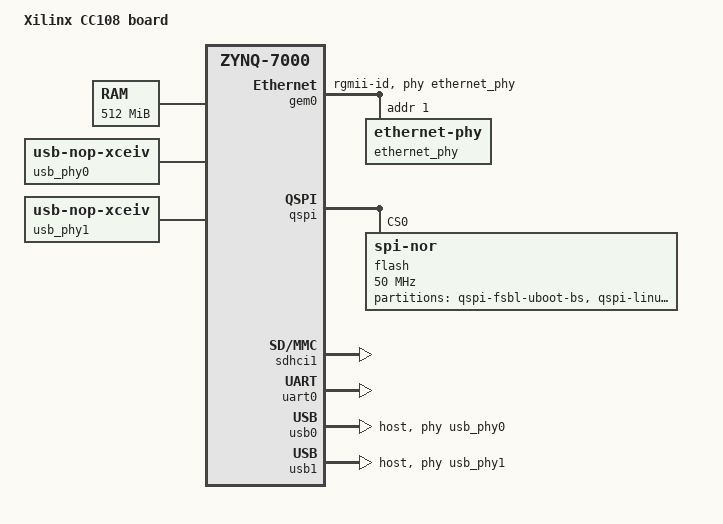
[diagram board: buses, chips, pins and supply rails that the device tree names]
// SPDX-License-Identifier: GPL-2.0+
/*
 * Xilinx CC108 board DTS
 *
 * (C) Copyright 2007-2018 Xilinx, Inc.
 * (C) Copyright 2007-2013 Michal Simek
 * (C) Copyright 2007-2012 PetaLogix Qld Pty Ltd
 *
 * Michal SIMEK <monstr@monstr.eu>
 */
/dts-v1/;
/include/ "zynq-7000.dtsi"

/ {
	model = "Xilinx CC108 board";
	compatible = "xlnx,zynq-cc108", "xlnx,zynq-7000";

	aliases {
		ethernet0 = &gem0;
		serial0 = &uart0;
		spi0 = &qspi;
	};

	chosen {
		bootargs = "";
		stdout-path = "serial0:115200n8";
	};

	memory@0 {
		device_type = "memory";
		reg = <0x0 0x20000000>;
	};

	usb_phy0: phy0 {
		compatible = "usb-nop-xceiv";
		#phy-cells = <0>;
	};

	usb_phy1: phy1 {
		compatible = "usb-nop-xceiv";
		#phy-cells = <0>;
	};
};

&gem0 {
	status = "okay";
	phy-mode = "rgmii-id";
	phy-handle = <&ethernet_phy>;

	ethernet_phy: ethernet-phy@1 {
		reg = <1>;
	};
};

&qspi {
	status = "okay";
	num-cs = <1>;
	flash@0 { /* 16 MB */
		compatible = "jedec,spi-nor";
		reg = <0x0>;
		spi-max-frequency = <50000000>;
		spi-tx-bus-width = <1>;
		spi-rx-bus-width = <4>;
		#address-cells = <1>;
		#size-cells = <1>;
		partition@0 {
			label = "qspi-fsbl-uboot-bs";
			reg = <0x0 0x400000>; /* 4MB */
		};
		partition@400000 {
			label = "qspi-linux";
			reg = <0x400000 0x400000>; /* 4MB */
		};
		partition@800000 {
			label = "qspi-rootfs";
			reg = <0x800000 0x400000>; /* 4MB */
		};
		partition@c00000 {
			label = "qspi-devicetree";
			reg = <0xc00000 0x100000>; /* 1MB */
		};
		partition@d00000 {
			label = "qspi-scratch";
			reg = <0xd00000 0x200000>; /* 2MB */
		};
		partition@f00000 {
			label = "qspi-uboot-env";
			reg = <0xf00000 0x100000>; /* 1MB */
		};
	};
};

&sdhci1 {
	status = "okay";
	broken-cd ;
	wp-inverted ;
};

&uart0 {
	bootph-all;
	status = "okay";
};

&usb0 {
	status = "okay";
	dr_mode = "host";
	usb-phy = <&usb_phy0>;
};

&usb1 {
	status = "okay";
	dr_mode = "host";
	usb-phy = <&usb_phy1>;
};
